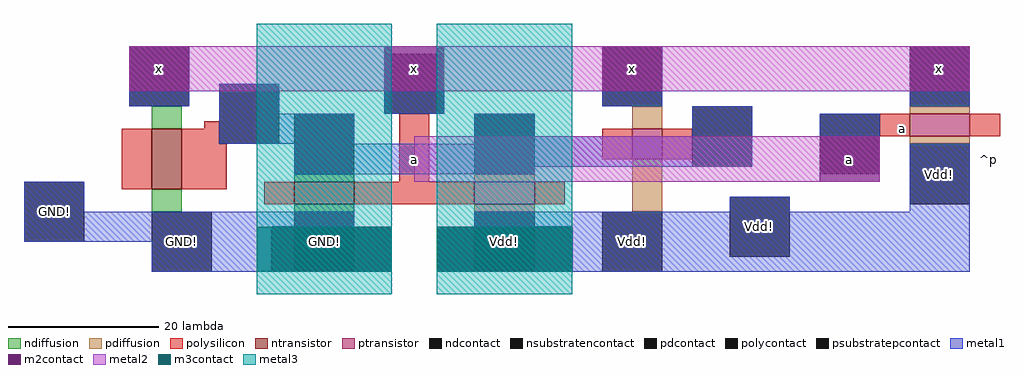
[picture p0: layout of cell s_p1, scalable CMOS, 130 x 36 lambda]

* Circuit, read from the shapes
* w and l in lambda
.subckt s_p1 GND! Vdd! a x
M1 x n1 GND! GND! nfet w=4 l=8
M2 n1 x GND! GND! nfet w=8 l=3
M3 n1 x Vdd! Vdd! pfet w=8 l=3
M4 x n1 Vdd! Vdd! pfet w=4 l=4
M5 x a Vdd! Vdd! pfet w=8 l=3
.ends

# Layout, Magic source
magic
tech scmos
<< ndiffusion >>
rect -35 44 -31 47
rect -16 37 -8 38
rect -35 33 -31 36
rect -16 33 -8 34
<< pdiffusion >>
rect 29 44 33 47
rect 8 37 16 38
rect 8 33 16 34
rect 29 33 33 40
rect 66 46 74 47
rect 66 42 74 43
<< ntransistor >>
rect -35 36 -31 44
rect -16 34 -8 37
<< ptransistor >>
rect 29 40 33 44
rect 8 34 16 37
rect 66 43 74 46
<< polysilicon >>
rect -28 44 -26 45
rect -39 36 -35 44
rect -31 42 -26 44
rect -31 36 -25 42
rect -2 37 2 46
rect 25 40 29 44
rect 33 40 37 44
rect -20 34 -16 37
rect -8 34 8 37
rect 16 34 20 37
rect 62 43 66 46
rect 74 43 78 46
<< ndcontact >>
rect -38 47 -30 55
rect -16 38 -8 46
rect -35 25 -27 33
rect -16 25 -8 33
<< pdcontact >>
rect 25 47 33 55
rect 66 47 74 55
rect 8 38 16 46
rect 8 25 16 33
rect 25 25 33 33
rect 66 34 74 42
<< psubstratepcontact >>
rect -52 29 -44 37
<< nsubstratencontact >>
rect 42 27 50 35
<< polycontact >>
rect -26 42 -18 50
rect -4 46 4 54
rect 37 39 45 47
rect 54 38 62 46
<< metal1 >>
rect -38 47 -30 49
rect -26 46 -18 50
rect -4 46 4 49
rect 25 47 33 49
rect 66 47 74 49
rect -26 42 -8 46
rect 8 43 16 46
rect 37 43 45 47
rect 8 42 45 43
rect -16 39 45 42
rect 54 43 62 46
rect -16 38 16 39
rect -52 33 -44 37
rect 42 33 50 35
rect 66 33 74 42
rect -52 31 -8 33
rect 8 31 74 33
rect -52 29 -19 31
rect -35 25 -19 29
rect 21 25 74 31
<< m2contact >>
rect -38 49 -30 55
rect -4 49 4 55
rect 25 49 33 55
rect 66 49 74 55
rect 54 37 62 43
rect -19 25 -3 31
rect 3 25 21 31
<< metal2 >>
rect -38 49 74 55
rect 0 37 62 43
<< m3contact >>
rect -21 25 -3 31
rect 3 25 21 31
<< metal3 >>
rect -21 22 -3 58
rect 3 22 21 58
<< labels >>
rlabel ndcontact -12 29 -12 29 1 GND!
rlabel pdcontact 12 29 12 29 1 Vdd!
rlabel metal2 0 37 0 43 3 a
rlabel metal2 0 49 0 55 1 x
rlabel metal1 -31 29 -31 29 1 GND!
rlabel metal1 -48 33 -48 33 3 GND!
rlabel pdcontact 29 29 29 29 1 Vdd!
rlabel metal1 46 31 46 31 1 Vdd!
rlabel metal1 70 38 70 38 1 Vdd!
rlabel polysilicon 65 44 65 44 1 a
rlabel space 74 25 79 55 3 ^p
rlabel metal2 -34 52 -34 52 1 x
rlabel metal2 29 52 29 52 1 x
rlabel metal2 70 52 70 52 1 x
rlabel metal2 58 40 58 40 1 a
<< end >>
